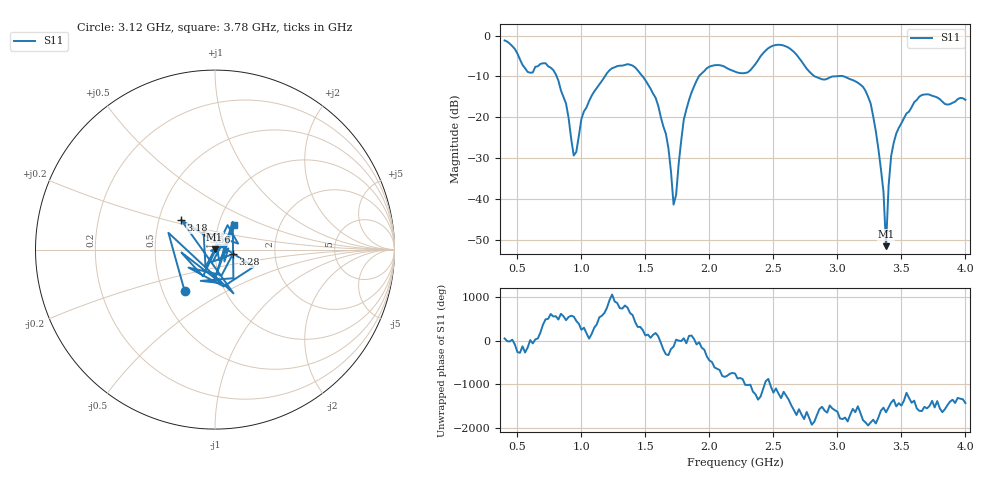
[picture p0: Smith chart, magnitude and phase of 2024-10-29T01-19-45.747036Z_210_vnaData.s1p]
!Created with skrf (http://scikit-rf.org).
# Hz S RI R 50.0
!freq ReS11 ImS11
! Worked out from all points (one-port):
!   181 points, 400 MHz to 4 GHz, reference 50 ohm
!   lowest |S11| = -51.5 dB at 3.38 GHz (marker M1), VSWR 1.01, Z = 49.8 + j0.111 ohm
!   |S11| at or under -10 dB: 806.9 MHz to 1.184 GHz (376.6 MHz wide, 37.8 % of centre); 1.479 GHz to 1.918 GHz (438.7 MHz wide, 25.8 % of centre); 3.05 GHz to end of sweep (the widest 3 of 4)
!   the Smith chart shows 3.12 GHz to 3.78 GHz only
!   S11 on the Smith chart (normalised r, x): 3.12 GHz: 0.65, -0.32; 3.18 GHz: 0.65, +0.23; 3.28 GHz: 1.22, -0.06; 3.56 GHz: 0.86, +0.17; 3.78 GHz: 1.19, +0.34
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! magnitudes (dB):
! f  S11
! 400 MHz  -1.2
! 580 MHz  -8.9
! 780 MHz  -8.4
! 860 MHz  -15.0
! 940 MHz  -29.3
! 1.08 GHz  -14.7
! 1.3 GHz  -7.4
! 1.58 GHz  -15.2
! 1.68 GHz  -27.6
! 1.72 GHz  -41.3
! 1.76 GHz  -31.3
! 1.8 GHz  -20.5
! 1.92 GHz  -9.9
! 2.2 GHz  -8.8
! 2.5 GHz  -2.5
! 2.66 GHz  -4.0
! 2.82 GHz  -10.0
! 3.1 GHz  -10.7
! 3.12 GHz  -10.9
! 3.18 GHz  -12.0
! 3.28 GHz  -19.8
! 3.36 GHz  -38.1
! 3.38 GHz  -51.5
! 3.4 GHz  -36.7
! 3.42 GHz  -29.4
! 3.56 GHz  -18.6
! 3.78 GHz  -15.1
! 4 GHz  -15.7
